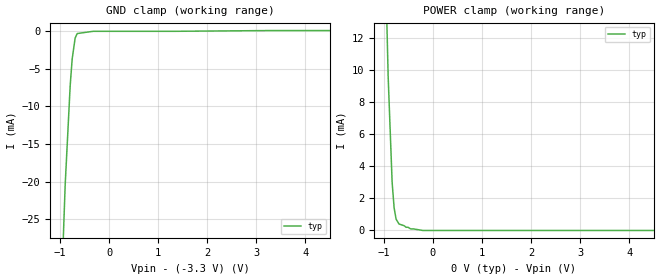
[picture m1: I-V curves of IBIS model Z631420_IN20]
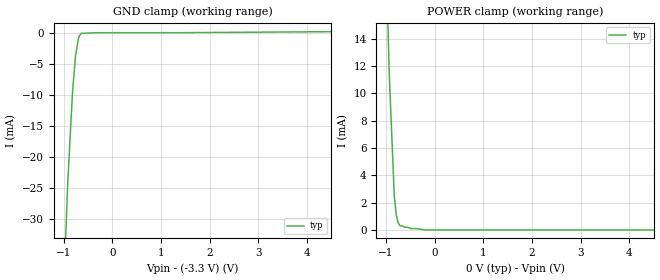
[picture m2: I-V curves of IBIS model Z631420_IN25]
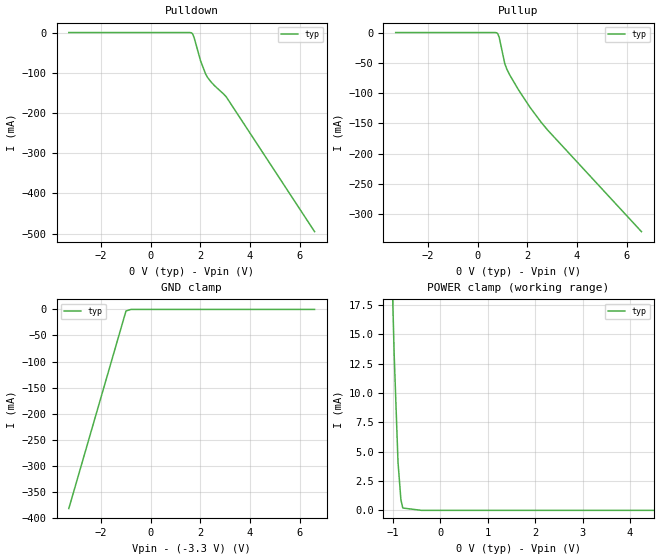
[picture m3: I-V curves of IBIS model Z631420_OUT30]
| YOU ARE ONLY AUTHORIZED TO USE THIS SOFTWARE
| ACCORDING TO LICENSOR'S LICENSE RESTRICTIONS.
[IBIS Ver] 3.1
[File Name] mc100ep016fa_-33.ibs
[File Rev] 0.1
[Source] Derived from MC10EP016FA_-33 Measured created by ICX Technology
[Date] 7/26/01
[Copyright]
| (C) COPYRIGHT 1993-2000
| MENTOR GRAPHICS CORPORATION
| ICX STANDARD LIBRARY, ICX PROJECT MODELING,
| ICX CUSTOM MODELING, ICX VENDOR MODEL
| ALL RIGHTS RESERVED.
| THE FOLLOWING ARE TRADEMARKS OR SERVICE MARKS OF
| MENTOR GRAPHICS CORPORATION:ICX (R), ICX STANDARD
| LIBRARY(R), ICX PROJECT MODELING(R), ICX CUSTOM
| MODELING(R), qualityIBIS(TM), MODELVIEWER(TM),
| AND MODELEDITOR(TM)
| ALL COPIES OF SOFTWARE, INCLUDING BUT NOT LIMITED TO
| ANY MODIFICATIONS, ENHANCEMENTS OR DERIVATIVE WORKS,
| MUST CONTAIN ALL MENTOR GRAPHICS CORPORATION'S
| NOTICES AND LEGENDS, INCLUDING THOSE EMBEDDED IN
| SOFTWARE AND THOSE AFFIXED TO SOFTWARE MEDIUM
| AND CONTAINER, AS RECEIVED FROM MENTOR GRAPHICS
| CORPORATION.
|  ZAP Model Builder 2.8
[Component] MC100EP016FA_-33
[Manufacturer] OnSemiconductor
[Package]
| variable   typ   min   max
R_pkg  .067ohms NA NA
L_pkg  4.211nH NA NA
C_pkg  1.002pF NA NA
[Pin] signal_name  model_name  R_pin  L_pin C_pin
1 VCC POWER .065 3.973n .928p
2 Q3 Z631420_OUT30 .066 4.127n .978p
3 Q4 Z631420_OUT30 .068 4.288n 1.027p
4 Q5 Z631420_OUT30 .069 4.455n 1.077p
5 Q6 Z631420_OUT30 .069 4.455n 1.077p
6 Q7 Z631420_OUT30 .068 4.288n 1.027p
7 TCLD Z631420_IN25 .066 4.127n .978p
8 VCC POWER .065 3.973n .928p
9 VEE POWER .065 3.973n .928p
10 COUT Z631420_OUT30 .066 4.127n .978p
11 _COUT Z631420_OUT30 .068 4.288n 1.027p
12 _TC Z631420_OUT30 .069 4.455n 1.077p
13 VCC POWER .069 4.455n 1.077p
14 P7 Z631420_IN20 .068 4.288n 1.027p
15 P6 Z631420_IN20 .066 4.127n .978p
16 P5 Z631420_IN20 .065 3.973n .928p
17 P4 Z631420_IN20 .065 3.973n .928p
18 P3 Z631420_IN20 .066 4.127n .978p
19 P2 Z631420_IN20 .068 4.288n 1.027p
20 P1 Z631420_IN20 .069 4.455n 1.077p
21 P0 Z631420_IN20 .069 4.455n 1.077p
22 CLK Z631420_IN25 .068 4.288n 1.027p
23 _CLK Z631420_IN25 .066 4.127n .978p
24 VBB POWER .065 3.973n .928p
25 _PE Z631420_IN25 .065 3.973n .928p
26 _CE Z631420_IN25 .066 4.127n .978p
27 MR Z631420_IN25 .068 4.288n 1.027p
28 VEE POWER .069 4.455n 1.077p
29 Q0 Z631420_OUT30 .069 4.455n 1.077p
30 Q1 Z631420_OUT30 .068 4.288n 1.027p
31 Q2 Z631420_OUT30 .066 4.127n .978p
32 VCC POWER .065 3.973n .928p
[Diff Pin] inv_pin vdiff tdelay_typ tdelay_min tdelay_max
10 11 NA NA NA NA
22 23 NA NA NA NA
| Models and submodels in the file (3): Z631420_IN20 (Input_ECL), Z631420_IN25 (Input_ECL), Z631420_OUT30 (Output_ECL)
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| (C) COPYRIGHT 1993-2000
| MENTOR GRAPHICS CORPORATION
| ICX STANDARD LIBRARY, ICX PROJECT MODELING,
| ICX CUSTOM MODELING, ICX VENDOR MODEL
| ALL RIGHTS RESERVED.
| THE FOLLOWING ARE TRADEMARKS OR SERVICE MARKS OF
| MENTOR GRAPHICS CORPORATION:ICX (R), ICX STANDARD
| LIBRARY(R), ICX PROJECT MODELING(R), ICX CUSTOM
| MODELING(R), qualityIBIS(TM), MODELVIEWER(TM),
| AND MODELEDITOR(TM)
| ALL COPIES OF SOFTWARE, INCLUDING BUT NOT LIMITED TO
| ANY MODIFICATIONS, ENHANCEMENTS OR DERIVATIVE WORKS,
| MUST CONTAIN ALL MENTOR GRAPHICS CORPORATION'S
| NOTICES AND LEGENDS, INCLUDING THOSE EMBEDDED IN
| SOFTWARE AND THOSE AFFIXED TO SOFTWARE MEDIUM
| AND CONTAINER, AS RECEIVED FROM MENTOR GRAPHICS
| CORPORATION.
| Model Application Version 1.89 2/18/99.
[Model] Z631420_IN20
Model_type Input_ECL
Vinl = -1.545V
Vinh = -1.145V
C_comp 3.000pF NA NA
| variable typ   min   max
[Voltage Range] -3.300V NA NA
[GND Clamp Reference] -3.300V NA NA
[POWER Clamp Reference] 0.000V NA NA
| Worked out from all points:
|   GND clamp passes 1 mA (typ) near -0.70 V on its own axis
|   POWER clamp passes 1 mA (typ) near -0.77 V on its own axis
[GND Clamp]
-3.3V     -568.3mA   NA         NA
-1.058V   -50.4mA    NA         NA
-896mV    -20.4mA    NA         NA
-794mV    -7.2mA     NA         NA
-754mV    -3.7mA     NA         NA
-693mV    -900uA     NA         NA
-652mV    -300uA     NA         NA
-326mV    0A         NA         NA
1.344V    0A         NA         NA
3.28V     100uA      NA         NA
6.6V      100uA      NA         NA
[POWER Clamp]
-3.3V     387.5mA    NA         NA
-1.034V   25.2mA     NA         NA
-912mV    9.6mA      NA         NA
-831mV    3mA        NA         NA
-790mV    1.4mA      NA         NA
-750mV    700uA      NA         NA
-689mV    400uA      NA         NA
-546.5mV  200uA      NA         NA
-506mV    200uA      NA         NA
-455.5mV  100uA      NA         NA
-202.5mV  0A         NA         NA
6.6V      0A         NA         NA
| (C) COPYRIGHT 1993-2000
| MENTOR GRAPHICS CORPORATION
| ICX STANDARD LIBRARY, ICX PROJECT MODELING,
| ICX CUSTOM MODELING, ICX VENDOR MODEL
| ALL RIGHTS RESERVED.
| THE FOLLOWING ARE TRADEMARKS OR SERVICE MARKS OF
| MENTOR GRAPHICS CORPORATION:ICX (R), ICX STANDARD
| LIBRARY(R), ICX PROJECT MODELING(R), ICX CUSTOM
| MODELING(R), qualityIBIS(TM), MODELVIEWER(TM),
| AND MODELEDITOR(TM)
| ALL COPIES OF SOFTWARE, INCLUDING BUT NOT LIMITED TO
| ANY MODIFICATIONS, ENHANCEMENTS OR DERIVATIVE WORKS,
| MUST CONTAIN ALL MENTOR GRAPHICS CORPORATION'S
| NOTICES AND LEGENDS, INCLUDING THOSE EMBEDDED IN
| SOFTWARE AND THOSE AFFIXED TO SOFTWARE MEDIUM
| AND CONTAINER, AS RECEIVED FROM MENTOR GRAPHICS
| CORPORATION.
| Model Application Version 1.89 2/18/99.
[Model] Z631420_IN25
Model_type Input_ECL
Vinl = -1.545V
Vinh = -1.145V
C_comp 3.000pF NA NA
| variable typ   min   max
[Voltage Range] -3.300V NA NA
[GND Clamp Reference] -3.300V NA NA
[POWER Clamp Reference] 0.000V NA NA
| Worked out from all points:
|   GND clamp passes 1 mA (typ) near -0.70 V on its own axis
|   POWER clamp passes 1 mA (typ) near -0.78 V on its own axis
[GND Clamp]
-3.3V     -645.2mA   NA         NA
-1.058V   -54.7mA    NA         NA
-916mV    -24.4mA    NA         NA
-815mV    -9.4mA     NA         NA
-754mV    -3.7mA     NA         NA
-693mV    -900uA     NA         NA
-673mV    -500uA     NA         NA
-632mV    -100uA     NA         NA
-316mV    0A         NA         NA
1.354V    0A         NA         NA
6.6V      269.6uA    NA         NA
[POWER Clamp]
-3.3V     392.3mA    NA         NA
-1.034V   24.4mA     NA         NA
-932mV    11.2mA     NA         NA
-831mV    2.5mA      NA         NA
-790mV    1.1mA      NA         NA
-750mV    500uA      NA         NA
-709.5mV  300uA      NA         NA
-476mV    100uA      NA         NA
-192.5mV  0A         NA         NA
6.6V      0A         NA         NA
| (C) COPYRIGHT 1993-2000
| MENTOR GRAPHICS CORPORATION
| ICX STANDARD LIBRARY, ICX PROJECT MODELING,
| ICX CUSTOM MODELING, ICX VENDOR MODEL
| ALL RIGHTS RESERVED.
| THE FOLLOWING ARE TRADEMARKS OR SERVICE MARKS OF
| MENTOR GRAPHICS CORPORATION:ICX (R), ICX STANDARD
| LIBRARY(R), ICX PROJECT MODELING(R), ICX CUSTOM
| MODELING(R), qualityIBIS(TM), MODELVIEWER(TM),
| AND MODELEDITOR(TM)
| ALL COPIES OF SOFTWARE, INCLUDING BUT NOT LIMITED TO
| ANY MODIFICATIONS, ENHANCEMENTS OR DERIVATIVE WORKS,
| MUST CONTAIN ALL MENTOR GRAPHICS CORPORATION'S
| NOTICES AND LEGENDS, INCLUDING THOSE EMBEDDED IN
| SOFTWARE AND THOSE AFFIXED TO SOFTWARE MEDIUM
| AND CONTAINER, AS RECEIVED FROM MENTOR GRAPHICS
| CORPORATION.
| Model Application Version 1.89 2/18/99.
[Model] Z631420_OUT30
Model_type Output_ECL
Vref=-2.000V
Rref=50.00ohms
Cref=0.000F
Vmeas=-1.345V
C_comp 8.000pF NA NA
| variable typ   min   max
[Voltage Range] -3.300V NA NA
[POWER Clamp Reference] 0.000V NA NA
[Pullup Reference] 0.000V NA NA
[Pulldown Reference] 0.000V NA NA
[GND Clamp Reference] -3.300V NA NA
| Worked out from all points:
|   GND clamp passes 1 mA (typ) near -0.86 V on its own axis
|   POWER clamp passes 1 mA (typ) near -0.83 V on its own axis
[GND Clamp]
-3.3V     -381.8mA   NA         NA
-997mV    -3.038mA   NA         NA
-797.6mV  0A         NA         NA
6.6V      0A         NA         NA
[Pulldown]
-3.3V     0A         NA         NA
1.642V    -800uA     NA         NA
1.682V    -2.9mA     NA         NA
1.743V    -11.6mA    NA         NA
2.007V    -70.3mA    NA         NA
2.209V    -102.9mA   NA         NA
2.29V     -111.8mA   NA         NA
2.594V    -133.5mA   NA         NA
3.041V    -159.8mA   NA         NA
6.6V      -494.9mA   NA         NA
[Pullup]
-3.3V     0A         NA         NA
771mV     -400uA     NA         NA
811mV     -1.8mA     NA         NA
872mV     -8.3mA     NA         NA
1.095V    -51.5mA    NA         NA
1.175V    -60.2mA    NA         NA
1.297V    -70.2mA    NA         NA
1.642V    -94.2mA    NA         NA
2.108V    -123.2mA   NA         NA
2.817V    -160.7mA   NA         NA
6.6V      -328.4mA   NA         NA
[POWER Clamp]
-3.3V     446.4mA    NA         NA
-1.054V   25.7mA     NA         NA
-973mV    13.3mA     NA         NA
-892mV    4.1mA      NA         NA
-831mV    900uA      NA         NA
-791mV    200uA      NA         NA
-395.5mV  0A         NA         NA
6.6V      0A         NA         NA
[Ramp]
| variable typ min max
dV/dt_r 458.7m/144.6p NA NA
dV/dt_f 458.7m/136.0p NA NA
R_load = 50.00Ohms
